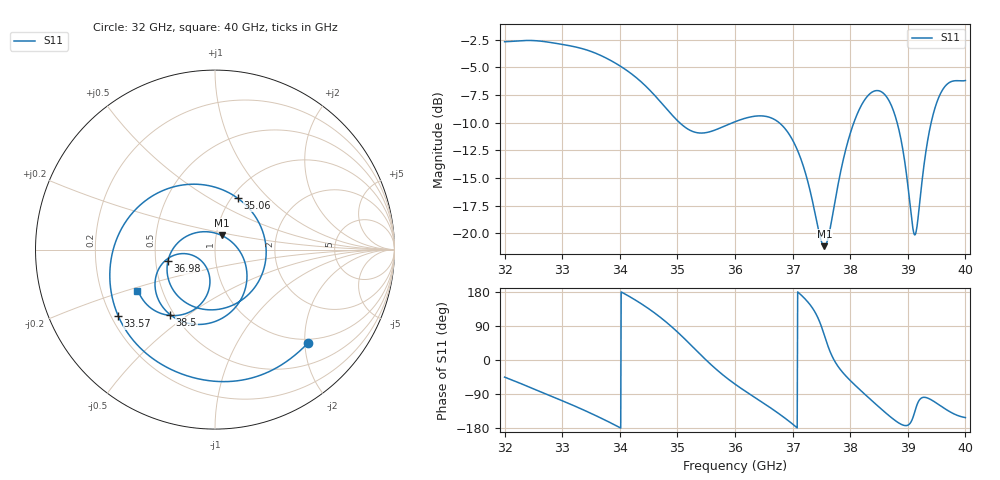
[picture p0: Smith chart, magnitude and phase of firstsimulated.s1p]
! TOUCHSTONE file generated by CST MICROWAVE STUDIO
! Date and time: Tue Mar 08 09:41:34 2016
! Project name: singlepatch_3.5GHz_bandwidth - interdigit - lower freqency (4) - fabricated resimulation.cst
! Header version: 2015
! Port assignment regex: !\s*Touchstone port\s*([0-9]+)\s*=\s*CST MWS port\s*([0-9]+)\s*\(\"(.*)\"\)(\s*mode\s*([0-9]+))?.*
! Touchstone port assignment:
! Touchstone port 1 = CST MWS port 1 ("")
# GHZ S DB R 50
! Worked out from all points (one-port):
!   1001 points, 32 GHz to 40 GHz, reference 50 ohm
!   lowest |S11| = -21.2 dB at 37.55 GHz (marker M1), VSWR 1.19, Z = 53.1 + j8.48 ohm
!   |S11| at or under -10 dB: 35.04 GHz to 35.96 GHz (923.8 MHz wide, 2.6 % of centre); 36.77 GHz to 38.06 GHz (1.298 GHz wide, 3.47 % of centre); 38.81 GHz to 39.41 GHz (590.8 MHz wide, 1.51 % of centre)
!   S11 on the Smith chart (normalised r, x): 32 GHz: 0.92, -2.07; 33.57 GHz: 0.23, -0.29; 35.06 GHz: 1.07, +0.68; 36.98 GHz: 0.58, -0.08; 38.5 GHz: 0.48, -0.43; 40 GHz: 0.36, -0.22
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32  -2.68 -45.1
32.52  -2.58 -77.3
33  -2.92 -107.5
33.568  -3.70 -145.7
34  -4.86 -178.4
34.264  -5.84 158.8
34.544  -7.19 130.7
35  -9.81 74.1
35.056  -10.09 66.1
35.504  -10.90 -0.9
36  -9.92 -63.6
36.472  -9.39 -111.5
36.752  -9.95 -140.6
36.976  -11.35 -166.1
37  -11.58 -169.0
37.296  -16.00 147.3
37.552  -21.18 65.0
37.8  -15.32 -19.3
38  -10.99 -54.0
38.272  -7.79 -92.9
38.504  -7.13 -124.7
38.784  -9.44 -160.1
39  -15.64 -172.1
39.128  -20.14 -133.1
39.304  -12.97 -98.7
39.496  -8.29 -113.5
39.752  -6.29 -138.4
40  -6.19 -152.0
